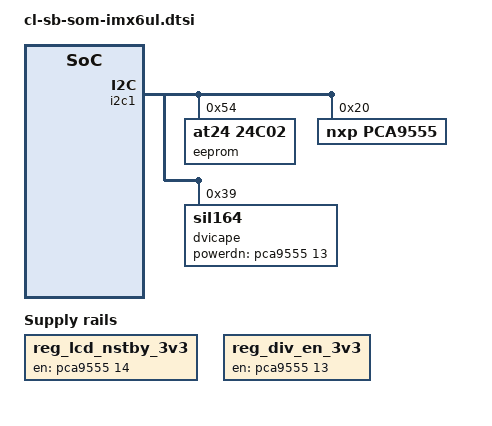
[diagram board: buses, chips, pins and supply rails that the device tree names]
/*
 * Suppport for CompuLab SB-SOM baseboard
 */

/ {
	reg_lcd_nstby_3v3: lcd_nstby_3v3 {
		compatible = "regulator-fixed";
		regulator-name = "lcd_nstby_3v3";
		gpio = <&pca9555 14 0>;
		enable-active-high;
		regulator-always-on;
	};

	reg_div_en_3v3: div_en_3v3 {
		compatible = "regulator-fixed";
		regulator-name = "dvi_en_3v3";
		gpio = <&pca9555 13 0>;
		enable-active-high;
		regulator-always-on;
	};

};

&i2c1 {
	status = "okay";

	eeprom@54 {
		compatible = "at24,24c02";
		reg = <0x54>;
		pagesize = <16>;
	};

	pca9555: pca9555@20 {
		compatible = "nxp,pca9555";
		gpio-controller;
		#gpio-cells = <2>;
		reg = <0x20>;
	};

	dvicape {
		compatible = "sil164";
		reg = <0x39>;
		powerdn-gpio = <&pca9555 13 0>;
	};
};
